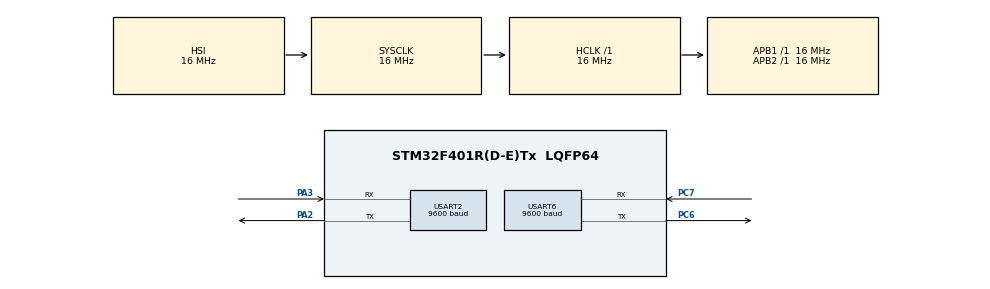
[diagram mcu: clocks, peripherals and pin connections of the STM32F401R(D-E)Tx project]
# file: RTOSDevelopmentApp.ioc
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Mcu.Family=STM32F4
Mcu.Name=STM32F401R(D-E)Tx
Mcu.Package=LQFP64
NVIC.PriorityGroup=NVIC_PRIORITYGROUP_4
NVIC.TIM1_UP_TIM10_IRQn=true\:0\:0\:false\:false\:true\:false\:true
NVIC.TimeBase=TIM1_UP_TIM10_IRQn
NVIC.TimeBaseIP=TIM1
PA2.Mode=Asynchronous
PA2.Signal=USART2_TX
PA3.Mode=Asynchronous
PA3.Signal=USART2_RX
PC6.Mode=Asynchronous
PC6.Signal=USART6_TX
PC7.Mode=Asynchronous
PC7.Signal=USART6_RX
ProjectManager.HeapSize=0x200
ProjectManager.StackSize=0x400
ProjectManager.TargetToolchain=STM32CubeIDE
RCC.AHBFreq_Value=16000000
RCC.APB1Freq_Value=16000000
RCC.APB2Freq_Value=16000000
RCC.CortexFreq_Value=16000000
RCC.HSE_VALUE=25000000
RCC.HSI_VALUE=16000000
RCC.LSE_VALUE=32768
RCC.SYSCLKFreq_VALUE=16000000
RCC.VCOOutputFreq_Value=192000000
USART2.BaudRate=9600
USART2.VirtualMode=VM_ASYNC
USART6.BaudRate=9600
USART6.VirtualMode=VM_ASYNC
VP_SYS_VS_tim1.Mode=TIM1
board=custom

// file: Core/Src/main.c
/* USER CODE BEGIN Header */
/**
 ******************************************************************************
 * @file           : main.c
 * @brief          : Main program body
 ******************************************************************************
 * @attention
 *
 * <h2><center>&copy; Copyright (c) 2022 STMicroelectronics.
 * All rights reserved.</center></h2>
 *
 * This software component is licensed by ST under BSD 3-Clause license,
 * the "License"; You may not use this file except in compliance with the
 * License. You may obtain a copy of the License at:
 *                        opensource.org/licenses/BSD-3-Clause
 *
 ******************************************************************************
 */
/* USER CODE END Header */

#include "main.h"

/* USER CODE BEGIN Includes */
#include "RTOS.h"
#include "Semaphore.h"
#include "EventGroup.h"
#include "MessageQueue.h"
/* USER CODE END Includes */

UART_HandleTypeDef huart2;
UART_HandleTypeDef huart6;

void SystemClock_Config(void);
static void MX_GPIO_Init(void);
static void MX_USART2_UART_Init(void);
static void MX_USART6_UART_Init(void);
/* USER CODE BEGIN PFP */
void T1(void);
void T2(void);
void T3(void);
void T4(void);
/* USER CODE END PFP */

/* USER CODE BEGIN 0 */

// Allocate task stacks statically
uint32_t	T1_stack[100];
uint32_t	T2_stack[100];
uint32_t	T3_stack[100];
uint32_t	T4_stack[100];

void textFun(void){
	HAL_UART_Transmit(&huart2, "T", 1, 0);
}

OSSem*			semUart = NULL;
EventGroup*		egEvents;
//MessageQueue	mqUart;
#define 		E_SMOKE		(1<<0)
#define 		E_HEAT		(1<<1)

void T1(void){
	uint8_t data = 0;
	HAL_UART_Transmit(&huart2, "T1 Started\r\n", 12, 100);
	while(1){
		if(HAL_UART_Receive(&huart2, &data, 1, 0) == HAL_OK){
			if(data == 's'){
				EGClearBits(egEvents, E_SMOKE);
			}else if(data == 'h'){
				EGClearBits(egEvents, E_HEAT);
			} else if(data == 'S'){
				EGSetBits(egEvents, E_SMOKE);
			}else if(data == 'H'){
				EGSetBits(egEvents, E_HEAT);
			}
		}
		OSDelay(1);
	}
}
void T2(void){
	uint32_t retBits = 0;
	HAL_UART_Transmit(&huart2, "T2 Started\r\n", 12, 100);
	while(1){
		retBits = EGWaitBits(egEvents, (E_SMOKE|E_HEAT), 0, 1, 0xFFFFFFFF);
		if((retBits&(E_SMOKE|E_HEAT)) == (E_SMOKE|E_HEAT)){
			HAL_UART_Transmit(&huart2, "ALARM\r\n", 7, 100);
			OSDelay(5000);
		}
	}
}
void T3(void){
	uint8_t data = 0;
	HAL_UART_Transmit(&huart2, "T3 Started\r\n", 12, 100);
	while(1){
		if(HAL_UART_Receive(&huart2, &data, 1, 0) == HAL_OK){
		//	if(MQPut(mqUart,&data)){
			HAL_UART_Transmit(&huart2, &data, 1, 100);
		//	}
		}
	}
}
void T4(void){
	uint8_t data = 'A';
	HAL_UART_Transmit(&huart2, "T4 Started\r\n", 12, 100);
	while(1){
//		if(MQGet(mqUart, &data, 0xFFFFFFFF)){
			HAL_UART_Transmit(&huart2, &data, 1, 100);
	//	}
		OSDelay(3000);
	}
}
/* USER CODE END 0 */

int main(void)
{

	/* MCU Configuration--------------------------------------------------------*/

	/* Reset of all peripherals, Initializes the Flash interface and the Systick. */
	HAL_Init();

	/* Configure the system clock */
	SystemClock_Config();

	/* Initialize all configured peripherals */
	MX_GPIO_Init();
	MX_USART2_UART_Init();
	MX_USART6_UART_Init();
	/* USER CODE BEGIN 2 */
	HAL_UART_Transmit(&huart2, "Started ...\r\n", 13, 100);

	//semUart = OSSemCreate(SEM_MUTEX, 1);
	//egEvents = EGCreate();
//	mqUart = MQCreate(10,1);

	OSCreateTask(T3, 1,T3_stack, 100);
	OSCreateTask(T4, 2,T4_stack, 100);
	//OSCreateTask(T3, 3,T3_stack, 100);

	OSStart();
	/* USER CODE END 2 */

	/* Infinite loop */
	while (1)
	{

	}
}

void SystemClock_Config(void)
{
	RCC_OscInitTypeDef RCC_OscInitStruct = {0};
	RCC_ClkInitTypeDef RCC_ClkInitStruct = {0};

	/** Configure the main internal regulator output voltage
	 */
	__HAL_RCC_PWR_CLK_ENABLE();
	__HAL_PWR_VOLTAGESCALING_CONFIG(PWR_REGULATOR_VOLTAGE_SCALE2);
	/** Initializes the CPU, AHB and APB busses clocks
	 */
	RCC_OscInitStruct.OscillatorType = RCC_OSCILLATORTYPE_HSI;
	RCC_OscInitStruct.HSIState = RCC_HSI_ON;
	RCC_OscInitStruct.HSICalibrationValue = RCC_HSICALIBRATION_DEFAULT;
	RCC_OscInitStruct.PLL.PLLState = RCC_PLL_NONE;
	if (HAL_RCC_OscConfig(&RCC_OscInitStruct) != HAL_OK)
	{
		Error_Handler();
	}
	/** Initializes the CPU, AHB and APB busses clocks
	 */
	RCC_ClkInitStruct.ClockType = RCC_CLOCKTYPE_HCLK|RCC_CLOCKTYPE_SYSCLK
			|RCC_CLOCKTYPE_PCLK1|RCC_CLOCKTYPE_PCLK2;
	RCC_ClkInitStruct.SYSCLKSource = RCC_SYSCLKSOURCE_HSI;
	RCC_ClkInitStruct.AHBCLKDivider = RCC_SYSCLK_DIV1;
	RCC_ClkInitStruct.APB1CLKDivider = RCC_HCLK_DIV1;
	RCC_ClkInitStruct.APB2CLKDivider = RCC_HCLK_DIV1;

	if (HAL_RCC_ClockConfig(&RCC_ClkInitStruct, FLASH_LATENCY_0) != HAL_OK)
	{
		Error_Handler();
	}
}

static void MX_USART2_UART_Init(void)
{

	huart2.Instance = USART2;
	huart2.Init.BaudRate = 9600;
	huart2.Init.WordLength = UART_WORDLENGTH_8B;
	huart2.Init.StopBits = UART_STOPBITS_1;
	huart2.Init.Parity = UART_PARITY_NONE;
	huart2.Init.Mode = UART_MODE_TX_RX;
	huart2.Init.HwFlowCtl = UART_HWCONTROL_NONE;
	huart2.Init.OverSampling = UART_OVERSAMPLING_16;
	if (HAL_UART_Init(&huart2) != HAL_OK)
	{
		Error_Handler();
	}

}

static void MX_USART6_UART_Init(void)
{

	huart6.Instance = USART6;
	huart6.Init.BaudRate = 9600;
	huart6.Init.WordLength = UART_WORDLENGTH_8B;
	huart6.Init.StopBits = UART_STOPBITS_1;
	huart6.Init.Parity = UART_PARITY_NONE;
	huart6.Init.Mode = UART_MODE_TX_RX;
	huart6.Init.HwFlowCtl = UART_HWCONTROL_NONE;
	huart6.Init.OverSampling = UART_OVERSAMPLING_16;
	if (HAL_UART_Init(&huart6) != HAL_OK)
	{
		Error_Handler();
	}

}

static void MX_GPIO_Init(void)
{

	/* GPIO Ports Clock Enable */
	__HAL_RCC_GPIOA_CLK_ENABLE();
	__HAL_RCC_GPIOC_CLK_ENABLE();

}

void HAL_TIM_PeriodElapsedCallback(TIM_HandleTypeDef *htim)
{
	if (htim->Instance == TIM1) {
		HAL_IncTick();
	}
}

void Error_Handler(void)
{
}

/************************ (C) COPYRIGHT STMicroelectronics *****END OF FILE****/
